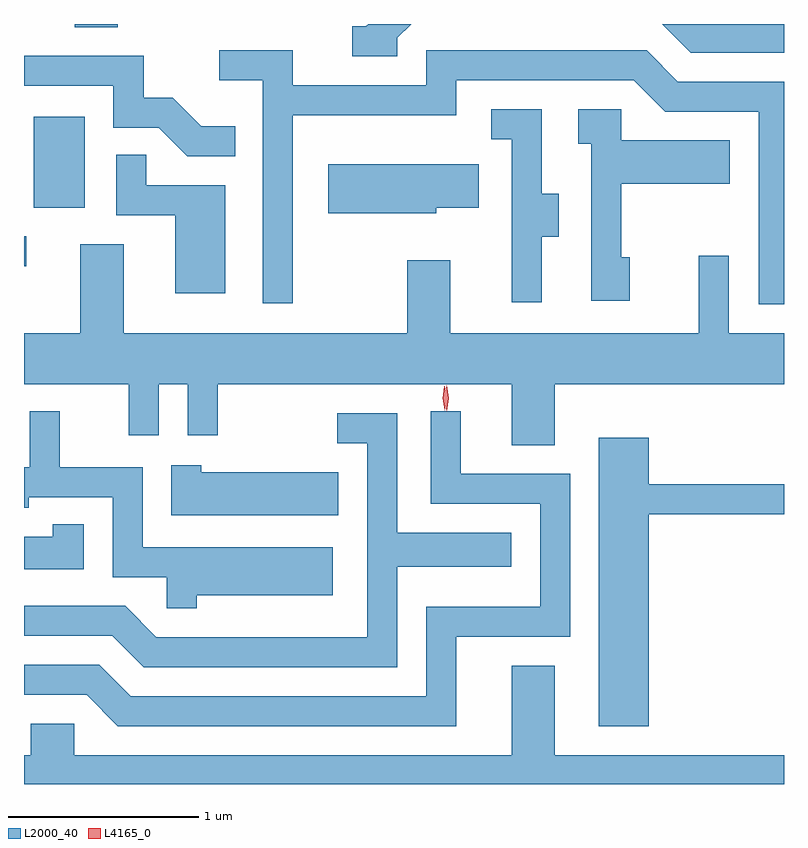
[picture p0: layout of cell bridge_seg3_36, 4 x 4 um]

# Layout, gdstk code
import gdstk
lib = gdstk.Library(unit=1e-6, precision=1e-09)
def R(c, l, rs):  # rectangles x0, y0, x1, y1
    for r in rs: c.add(gdstk.rectangle(r[:2], r[2:], *l))
def P(c, l, *ps):  # polygons
    for p in ps: c.add(gdstk.Polygon(p, *l))
L2000_40 = (2000, 40)
L4165_0 = (4165, 0)

bridge_seg3_36 = lib.new_cell('bridge_seg3_36')
R(bridge_seg3_36, L2000_40, [(1423.595,1210.996,1423.608,1211.154), (1423.646,1211.306,1423.914,1211.784), (1423.861,1212.256,1424.089,1212.272)])
P(bridge_seg3_36, L2000_40, [(1425.559,1212.199),(1425.633,1212.272),(1425.407,1212.272),(1425.394,1212.259),(1425.323,1212.259),(1425.323,1212.101),(1425.559,1212.101)],
  [(1427.595,1212.272),(1426.953,1212.272),(1427.104,1212.121),(1427.595,1212.121)],
  [(1427.595,1211.969),(1427.037,1211.969),(1426.872,1212.134),(1425.711,1212.134),(1425.711,1211.949),(1425.009,1211.949),(1425.009,1212.134),(1424.623,1212.134),(1424.623,1211.976),(1424.851,1211.976),(1424.851,1210.803),(1425.009,1210.803),(1425.009,1211.791),(1425.869,1211.791),(1425.869,1211.976),(1426.804,1211.976),(1426.969,1211.811),(1427.461,1211.811),(1427.461,1210.796),(1427.595,1210.796)],
  [(1424.708,1211.734),(1424.527,1211.734),(1424.377,1211.884),(1424.224,1211.884),(1424.224,1212.104),(1423.595,1212.104),(1423.595,1211.946),(1424.066,1211.946),(1424.066,1211.726),(1424.304,1211.726),(1424.454,1211.576),(1424.708,1211.576)],
  [(1426.784,1211.044),(1426.739,1211.044),(1426.739,1211.431),(1427.309,1211.431),(1427.309,1211.659),(1426.739,1211.659),(1426.739,1211.824),(1426.511,1211.824),(1426.511,1211.641),(1426.581,1211.641),(1426.581,1210.816),(1426.784,1210.816)],
  [(1426.319,1211.151),(1426.409,1211.151),(1426.409,1211.379),(1426.319,1211.379),(1426.319,1211.824),(1426.053,1211.824),(1426.053,1211.666),(1426.161,1211.666),(1426.161,1210.808),(1426.319,1210.808)],
  [(1424.654,1211.424),(1424.239,1211.424),(1424.239,1211.583),(1424.081,1211.583),(1424.081,1211.266),(1424.391,1211.266),(1424.391,1210.856),(1424.654,1210.856)],
  [(1425.764,1211.306),(1425.989,1211.306),(1425.989,1211.534),(1425.196,1211.534),(1425.196,1211.276),(1425.764,1211.276)],
  [(1425.611,1211.029),(1425.611,1210.644),(1424.119,1210.644),(1424.119,1211.114),(1423.891,1211.114),(1423.891,1210.644),(1423.595,1210.644),(1423.595,1210.376),(1424.146,1210.376),(1424.146,1210.108),(1424.304,1210.108),(1424.304,1210.376),(1424.456,1210.376),(1424.456,1210.108),(1424.614,1210.108),(1424.614,1210.376),(1426.161,1210.376),(1426.161,1210.056),(1426.389,1210.056),(1426.389,1210.376),(1427.595,1210.376),(1427.595,1210.644),(1427.304,1210.644),(1427.304,1211.053),(1427.146,1211.053),(1427.146,1210.644),(1425.839,1210.644),(1425.839,1211.029)],
  [(1425.869,1209.046),(1426.469,1209.046),(1426.469,1209.904),(1425.894,1209.904),(1425.894,1210.233),(1425.736,1210.233),(1425.736,1209.746),(1426.311,1209.746),(1426.311,1209.204),(1425.711,1209.204),(1425.711,1208.734),(1424.157,1208.734),(1423.992,1208.899),(1423.595,1208.899),(1423.595,1208.741),(1423.924,1208.741),(1424.089,1208.576),(1425.869,1208.576)],
  [(1424.504,1209.266),(1425.219,1209.266),(1425.219,1209.519),(1424.219,1209.519),(1424.219,1209.939),(1423.784,1209.939),(1423.784,1210.233),(1423.626,1210.233),(1423.626,1209.939),(1423.595,1209.939),(1423.595,1209.726),(1423.619,1209.726),(1423.619,1209.781),(1424.061,1209.781),(1424.061,1209.361),(1424.346,1209.361),(1424.346,1209.198),(1424.504,1209.198)],
  [(1425.559,1209.416),(1426.159,1209.416),(1426.159,1209.594),(1425.559,1209.594),(1425.559,1210.224),(1425.243,1210.224),(1425.243,1210.066),(1425.401,1210.066),(1425.401,1209.044),(1424.292,1209.044),(1424.127,1209.209),(1423.595,1209.209),(1423.595,1209.051),(1424.059,1209.051),(1424.224,1208.886),(1425.559,1208.886)],
  [(1426.884,1209.691),(1427.595,1209.691),(1427.595,1209.849),(1426.884,1209.849),(1426.884,1210.094),(1426.621,1210.094),(1426.621,1208.576),(1426.884,1208.576)],
  [(1425.249,1209.914),(1424.529,1209.914),(1424.529,1209.949),(1424.371,1209.949),(1424.371,1209.686),(1425.249,1209.686)],
  [(1423.909,1209.638),(1423.746,1209.638),(1423.746,1209.574),(1423.595,1209.574),(1423.595,1209.401),(1423.909,1209.401)],
  [(1427.595,1208.424),(1426.389,1208.424),(1426.389,1208.894),(1426.161,1208.894),(1426.161,1208.424),(1423.859,1208.424),(1423.859,1208.589),(1423.631,1208.589),(1423.631,1208.424),(1423.595,1208.424),(1423.595,1208.272),(1427.595,1208.272)])
P(bridge_seg3_36, L4165_0, [(1425.82,1210.234),(1425.819,1210.235),(1425.81,1210.303),(1425.82,1210.371),(1425.82,1210.372),(1425.82,1210.371),(1425.83,1210.303),(1425.82,1210.235)],
  [(1425.809,1210.238),(1425.799,1210.302),(1425.808,1210.365),(1425.809,1210.366),(1425.81,1210.365),(1425.819,1210.302),(1425.81,1210.238),(1425.81,1210.238)])

lib.write_gds('bridge_seg3_36.gds')
